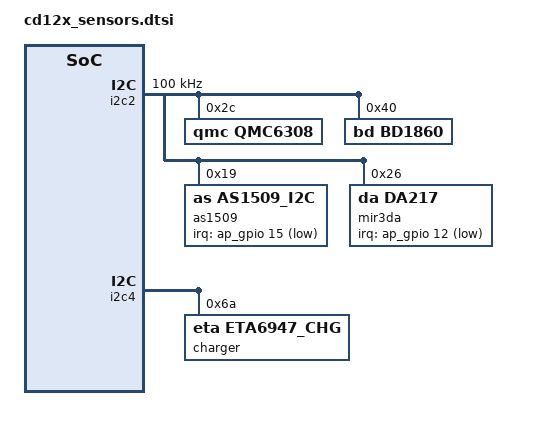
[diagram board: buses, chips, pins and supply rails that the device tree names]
// SPDX-License-Identifier: (GPL-2.0+ OR MIT)
/*
 * UWS6152 w527 watch sensors/charger nodes, aligned with stock FDT.
 * i2c2 = 0x70500000 (100kHz): qmc6308 compass, bd1860 heartrate,
 *        as1509 crown keys, mir3da accel.
 * i2c4 = 0x70700000 (400kHz): eta6947 charger.
 * Touch (hyn,92xx @0x5a on i2c3) stays in cd12x.dts, untouched.
 */

&i2c2 {
	status = "okay";
	clock-frequency = <100000>;

	qmc6308@2c {
		compatible = "qmc,qmc6308";
		reg = <0x2c>;
		status = "okay";
	};

	bd1860@40 {
		compatible = "bd,bd1860";
		reg = <0x40>;
		status = "okay";
	};

	as1509@19 {
		compatible = "as,as1509_i2c";
		reg = <0x19>;
		as,irq-gpio = <&ap_gpio 15 1>;
		key-code-up = <0x41>;
		key-code-down = <0x42>;
		key-code-front = <0x3d>;
		key-code-back = <0x3e>;
		status = "okay";
	};

	mir3da@26 {
		compatible = "da,da217";
		reg = <0x26>;
		layout = <0x07>;
		irq1,irq-gpio = <&ap_gpio 12 1>;
		status = "okay";
	};
};

&i2c4 {
	status = "okay";

	charger@6a {
		compatible = "eta,eta6947_chg";
		reg = <0x6a>;
		monitored-battery = <&bat>;
		extcon = <&pmic_typec>;
		status = "okay";
	};
};
